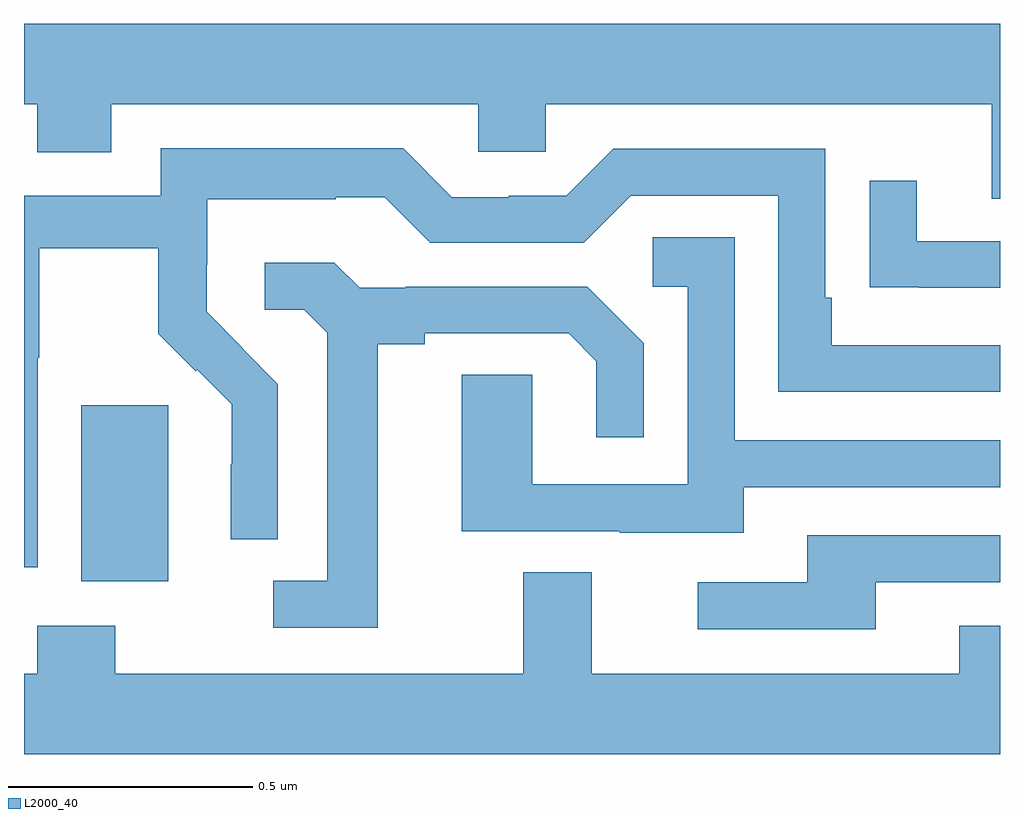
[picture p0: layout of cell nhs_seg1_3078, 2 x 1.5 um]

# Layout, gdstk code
import gdstk
lib = gdstk.Library(unit=1e-6, precision=1e-09)
def R(c, l, rs):  # rectangles x0, y0, x1, y1
    for r in rs: c.add(gdstk.rectangle(r[:2], r[2:], *l))
def P(c, l, *ps):  # polygons
    for p in ps: c.add(gdstk.Polygon(p, *l))
L2000_40 = (2000, 40)

nhs_seg1_3078 = lib.new_cell('nhs_seg1_3078')
R(nhs_seg1_3078, L2000_40, [(149.117,558.746,149.296,559.107)])
P(nhs_seg1_3078, L2000_40, [(151,559.888),(149,559.888),(149,559.724),(149.027,559.724),(149.027,559.625),(149.179,559.625),(149.179,559.724),(149.931,559.724),(149.931,559.626),(150.069,559.626),(150.069,559.724),(150.983,559.724),(150.983,559.53),(151,559.53)],
  [(149.028,559.204),(149.031,559.204),(149.031,559.428),(149.275,559.428),(149.275,559.253),(149.352,559.176),(149.355,559.179),(149.426,559.109),(149.426,558.986),(149.424,558.986),(149.424,558.832),(149.52,558.832),(149.52,559.15),(149.447,559.223),(149.448,559.224),(149.374,559.298),(149.374,559.395),(149.376,559.395),(149.376,559.529),(149.639,559.529),(149.639,559.533),(149.739,559.533),(149.832,559.44),(150.147,559.44),(150.243,559.536),(150.546,559.536),(150.546,559.134),(151,559.134),(151,559.23),(150.655,559.23),(150.655,559.327),(150.642,559.327),(150.642,559.632),(150.207,559.632),(150.111,559.536),(149.993,559.536),(149.993,559.533),(149.877,559.533),(149.777,559.633),(149.28,559.633),(149.28,559.536),(149,559.536),(149,558.775),(149.028,558.775)],
  [(151,559.443),(150.829,559.443),(150.829,559.567),(150.733,559.567),(150.733,559.348),(150.835,559.348),(150.835,559.347),(151,559.347)],
  [(150.475,558.939),(151,558.939),(151,559.035),(150.456,559.035),(150.456,559.451),(150.288,559.451),(150.288,559.35),(150.36,559.35),(150.36,558.945),(150.042,558.945),(150.042,559.169),(149.897,559.169),(149.897,558.849),(150.221,558.849),(150.221,558.845),(150.475,558.845)],
  [(149.725,559.232),(149.821,559.232),(149.821,559.254),(150.116,559.254),(150.173,559.197),(150.173,559.041),(150.27,559.041),(150.27,559.234),(150.154,559.35),(149.782,559.35),(149.782,559.347),(149.688,559.347),(149.636,559.399),(149.493,559.399),(149.493,559.302),(149.574,559.302),(149.621,559.255),(149.621,558.747),(149.511,558.747),(149.511,558.651),(149.725,558.651)],
  [(150.745,558.744),(151,558.744),(151,558.84),(150.605,558.84),(150.605,558.744),(150.381,558.744),(150.381,558.648),(150.745,558.648)],
  [(151,558.655),(150.917,558.655),(150.917,558.556),(150.163,558.556),(150.163,558.764),(150.023,558.764),(150.023,558.556),(149.187,558.556),(149.187,558.655),(149.027,558.655),(149.027,558.556),(149,558.556),(149,558.392),(151,558.392)])

lib.write_gds('nhs_seg1_3078.gds')
